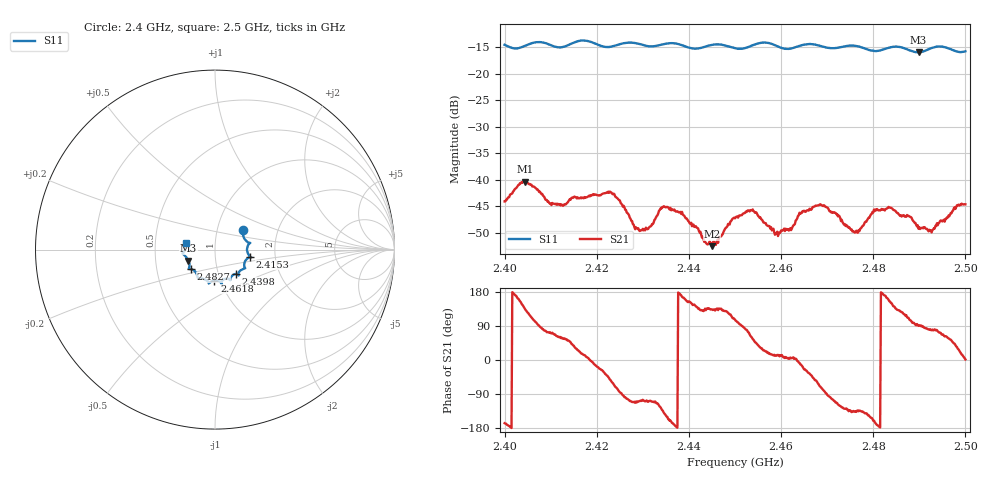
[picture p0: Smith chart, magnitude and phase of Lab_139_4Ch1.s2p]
# Hz S RI R 50
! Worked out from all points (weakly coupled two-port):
!   601 points, 2.4 GHz to 2.5 GHz, reference 50 ohm
!   highest |S21| = -40.36 dB at 2.4045 GHz (marker M1); lowest = -52.6 dB at 2.445 GHz (marker M2)
!   lowest |S11| = -15.9 dB at 2.4898 GHz (marker M3), VSWR 1.38, Z = 36.9 - j4.62 ohm
!   |S11| at or under -10 dB: start of sweep to end of sweep
!   S12 and S22 are empty: the file has one direction only
!   S11 on the Smith chart (normalised r, x): 2.4 GHz: 1.33, +0.30; 2.4153 GHz: 1.48, -0.12; 2.4398 GHz: 1.21, -0.34; 2.4618 GHz: 0.94, -0.33; 2.4827 GHz: 0.75, -0.17; 2.5 GHz: 0.72, +0.06
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2.4e9  0.1552 0.1073  -0.00606 -0.00143  0 0  0 0
2.4045e9  0.1797 0.0428  -0.00655 0.00701  0 0  0 0
2.410167e9  0.1846 0.0248  0.00195 0.00541  0 0  0 0
2.415333e9  0.1964 -0.0392  0.00581 0.00362  0 0  0 0
2.416667e9  0.2025 -0.043  0.00639 0.00192  0 0  0 0
2.423333e9  0.1628 -0.0808  0.00375 -0.00635  0 0  0 0
2.429667e9  0.1559 -0.1088  -0.00104 -0.00316  0 0  0 0
2.433333e9  0.1296 -0.1338  -0.00212 -0.00429  0 0  0 0
2.439833e9  0.1155 -0.1355  -0.00362 0.00187  0 0  0 0
2.445e9  0.0841 -0.1683  -0.00162 0.00171  0 0  0 0
2.45e9  0.0655 -0.1623  -0.00123 0.00413  0 0  0 0
2.453667e9  0.0365 -0.1819  0.00263 0.00439  0 0  0 0
2.459e9  0.0309 -0.1817  0.00304 0.000609  0 0  0 0
2.461833e9  -0.00326 -0.1728  0.00334 0.000195  0 0  0 0
2.466667e9  -0.0347 -0.1882  0.00394 -0.00351  0 0  0 0
2.469667e9  -0.0451 -0.1728  0.000268 -0.00552  0 0  0 0
2.476167e9  -0.0958 -0.1573  -0.00226 -0.00226  0 0  0 0
2.482667e9  -0.135 -0.1084  -0.00517 0.000988  0 0  0 0
2.483333e9  -0.1399 -0.108  -0.00515 0.002  0 0  0 0
2.489833e9  -0.1478 -0.061  -7.22e-07 0.00343  0 0  0 0
2.492833e9  -0.1744 -0.0278  0.000554 0.00328  0 0  0 0
2.5e9  -0.1592 0.0386  0.00585 0.000158  0 0  0 0
